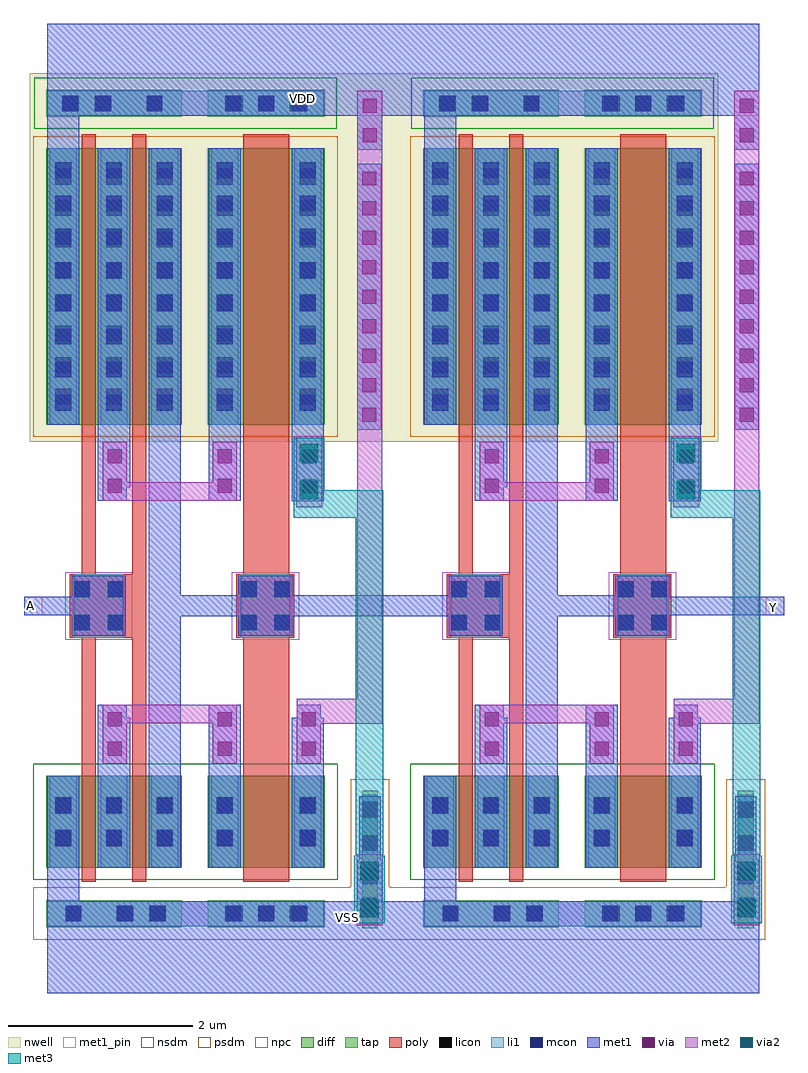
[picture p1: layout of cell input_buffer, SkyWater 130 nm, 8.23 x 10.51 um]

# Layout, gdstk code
import gdstk
lib = gdstk.Library(unit=1e-6, precision=1e-09)
def R(c, l, rs):  # rectangles x0, y0, x1, y1
    for r in rs: c.add(gdstk.rectangle(r[:2], r[2:], *l))
def A(c, l, x, y, w, h, nx, ny, dx, dy):  # array of equal rectangles
    R(c, l, [(x+i*dx, y+j*dy, x+i*dx+w, y+j*dy+h) for i in range(nx) for j in range(ny)])
nwell = (64, 20)
diff = (65, 20)
tap = (65, 44)
poly = (66, 20)
licon = (66, 44)
li1 = (67, 20)
mcon = (67, 44)
met1_pin = (68, 16)
met1 = (68, 20)
via = (68, 44)
met2 = (69, 20)
via2 = (69, 44)
met3 = (70, 20)
nsdm = (93, 44)
psdm = (94, 20)
npc = (95, 20)

m1m2_c_cdns_795703086708 = lib.new_cell('M1M2_C_CDNS_7957030867088')
R(m1m2_c_cdns_795703086708, met1, [(-0.13,-0.32,0.13,0.32)])
R(m1m2_c_cdns_795703086708, via, [(-0.075,-0.235,0.075,-0.085), (-0.075,0.085,0.075,0.235)])
R(m1m2_c_cdns_795703086708, met2, [(-0.13,-0.32,0.13,0.32)])

polyconn_cdns_7957030867 = lib.new_cell('polyConn_CDNS_795703086702')
R(polyconn_cdns_7957030867, poly, [(-0.315,-0.345,0.315,0.345)])
R(polyconn_cdns_7957030867, licon, [(-0.265,-0.265,-0.095,-0.095), (0.095,-0.265,0.265,-0.095), (-0.265,0.095,-0.095,0.265), (0.095,0.095,0.265,0.265)])
R(polyconn_cdns_7957030867, li1, [(-0.265,-0.345,0.265,0.345)])
R(polyconn_cdns_7957030867, mcon, [(-0.265,-0.265,-0.095,-0.095), (0.095,-0.265,0.265,-0.095), (-0.265,0.095,-0.095,0.265), (0.095,0.095,0.265,0.265)])
R(polyconn_cdns_7957030867, met1, [(-0.295,-0.325,0.295,0.325)])
R(polyconn_cdns_7957030867, npc, [(-0.365,-0.365,0.365,0.365)])

nfet_01v8_cdns_795703086 = lib.new_cell('nfet_01v8_CDNS_795703086709')
R(nfet_01v8_cdns_795703086, diff, [(-0.345,0,0,1), (0,0,0.15,1), (0.15,0,0.535,1)])
R(nfet_01v8_cdns_795703086, tap, [(-0.345,-0.64,0.535,-0.35)])
R(nfet_01v8_cdns_795703086, poly, [(0,-0.15,0.15,-0.095), (0,-0.095,0.15,0), (0,0,0.15,1), (0,1,0.15,1.095), (0,1.095,0.15,1.15)])
R(nfet_01v8_cdns_795703086, licon, [(-0.16,-0.58,0.01,-0.41), (0.18,-0.58,0.35,-0.41), (-0.285,0.245,-0.115,0.415), (0.265,0.245,0.435,0.415), (-0.285,0.585,-0.115,0.755), (0.265,0.585,0.435,0.755)])
R(nfet_01v8_cdns_795703086, li1, [(-0.335,-0.63,0.525,-0.36), (-0.345,0,-0.055,1), (0.205,0,0.495,1)])
R(nfet_01v8_cdns_795703086, mcon, [(-0.17,-0.58,0,-0.41), (0.19,-0.58,0.36,-0.41), (-0.285,0.235,-0.115,0.405), (0.265,0.235,0.435,0.405), (-0.285,0.595,-0.115,0.765), (0.265,0.595,0.435,0.765)])
R(nfet_01v8_cdns_795703086, met1, [(-0.335,-0.63,0.525,-0.36), (-0.375,0,-0.025,1), (0.175,0,0.525,1)])
R(nfet_01v8_cdns_795703086, nsdm, [(-0.355,-0.13,0.675,1.13)])
R(nfet_01v8_cdns_795703086, psdm, [(-0.485,-0.78,0.675,-0.21)])

subtap_cdns_795703086703 = lib.new_cell('subTap_CDNS_795703086703')
R(subtap_cdns_795703086703, tap, [(-0.085,-0.745,0.085,0.745)])
A(subtap_cdns_795703086703, licon, -0.085, -0.625, 0.17, 0.17, 1, 4, 0, 0.36)
R(subtap_cdns_795703086703, li1, [(-0.085,-0.705,0.085,0.705)])
A(subtap_cdns_795703086703, mcon, -0.085, -0.625, 0.17, 0.17, 1, 4, 0, 0.36)
R(subtap_cdns_795703086703, met1, [(-0.115,-0.685,0.115,0.685)])
R(subtap_cdns_795703086703, psdm, [(-0.21,-0.87,0.21,0.87)])

pfet_01v8_cdns_795703086 = lib.new_cell('pfet_01v8_CDNS_795703086707')
R(pfet_01v8_cdns_795703086, nwell, [(-0.565,-0.18,0.675,3.81)])
R(pfet_01v8_cdns_795703086, diff, [(-0.385,0,0,3), (0,0,0.15,3), (0.15,0,0.495,3)])
R(pfet_01v8_cdns_795703086, tap, [(-0.385,3.34,0.495,3.63)])
R(pfet_01v8_cdns_795703086, poly, [(0,-0.15,0.15,-0.095), (0,-0.095,0.15,0), (0,0,0.15,3), (0,3,0.15,3.095), (0,3.095,0.15,3.15)])
A(pfet_01v8_cdns_795703086, licon, -0.285, 0.225, 0.17, 0.17, 1, 8, 0, 0.34)
A(pfet_01v8_cdns_795703086, licon, 0.265, 0.225, 0.17, 0.17, 1, 8, 0, 0.34)
R(pfet_01v8_cdns_795703086, licon, [(-0.2,3.4,-0.03,3.57), (0.14,3.4,0.31,3.57)])
R(pfet_01v8_cdns_795703086, li1, [(-0.345,0,-0.055,3), (0.205,0,0.495,3), (-0.375,3.35,0.485,3.62)])
A(pfet_01v8_cdns_795703086, mcon, -0.285, 0.155, 0.17, 0.17, 1, 8, 0, 0.36)
A(pfet_01v8_cdns_795703086, mcon, 0.265, 0.155, 0.17, 0.17, 1, 8, 0, 0.36)
R(pfet_01v8_cdns_795703086, mcon, [(-0.21,3.4,-0.04,3.57), (0.15,3.4,0.32,3.57)])
R(pfet_01v8_cdns_795703086, met1, [(-0.375,0,-0.025,3), (0.175,0,0.525,3), (-0.375,3.35,0.485,3.62)])
R(pfet_01v8_cdns_795703086, nsdm, [(-0.515,3.21,0.625,3.76)])
R(pfet_01v8_cdns_795703086, psdm, [(-0.525,-0.13,0.505,3.13)])

m1m2_c_cdns_795703086709 = lib.new_cell('M1M2_C_CDNS_7957030867090')
R(m1m2_c_cdns_795703086709, met1, [(-0.13,-1.44,0.13,1.44)])
A(m1m2_c_cdns_795703086709, via, -0.075, -1.355, 0.15, 0.15, 1, 9, 0, 0.32)
R(m1m2_c_cdns_795703086709, met2, [(-0.13,-1.44,0.13,1.44)])

c_pfet_01v8_cdns_795703086 = lib.new_cell('pfet_01v8_CDNS_795703086706')
R(c_pfet_01v8_cdns_795703086, nwell, [(-0.235,-0.18,0.715,3.81)])
R(c_pfet_01v8_cdns_795703086, diff, [(-0.055,0,0,3), (0,0,0.15,3), (0.15,0,0.535,3)])
R(c_pfet_01v8_cdns_795703086, tap, [(-0.055,3.34,0.535,3.63)])
R(c_pfet_01v8_cdns_795703086, poly, [(0,-0.15,0.15,-0.095), (0,-0.095,0.15,0), (0,0,0.15,3), (0,3,0.15,3.095), (0,3.095,0.15,3.15)])
A(c_pfet_01v8_cdns_795703086, licon, 0.265, 0.225, 0.17, 0.17, 1, 8, 0, 0.34)
R(c_pfet_01v8_cdns_795703086, licon, [(0.155,3.4,0.325,3.57)])
R(c_pfet_01v8_cdns_795703086, li1, [(0.205,0,0.495,3), (-0.045,3.35,0.525,3.62)])
A(c_pfet_01v8_cdns_795703086, mcon, 0.265, 0.155, 0.17, 0.17, 1, 8, 0, 0.36)
R(c_pfet_01v8_cdns_795703086, mcon, [(0.155,3.4,0.325,3.57)])
R(c_pfet_01v8_cdns_795703086, met1, [(0.175,0,0.525,3), (-0.045,3.35,0.525,3.62)])
R(c_pfet_01v8_cdns_795703086, nsdm, [(-0.185,3.21,0.665,3.76)])
R(c_pfet_01v8_cdns_795703086, psdm, [(-0.065,-0.13,0.675,3.13)])

m2m3_c_cdns_795703086708 = lib.new_cell('M2M3_C_CDNS_7957030867089')
R(m2m3_c_cdns_795703086708, met2, [(-0.14,-0.385,0.14,0.385)])
R(m2m3_c_cdns_795703086708, via2, [(-0.1,-0.3,0.1,-0.1), (-0.1,0.1,0.1,0.3)])
R(m2m3_c_cdns_795703086708, met3, [(-0.165,-0.365,0.165,0.365)])

c_pfet_01v8_cdns_795703086_ = lib.new_cell('pfet_01v8_CDNS_795703086705')
R(c_pfet_01v8_cdns_795703086_, nwell, [(-0.565,-0.18,1.065,3.81)])
R(c_pfet_01v8_cdns_795703086_, diff, [(-0.385,0,0,3), (0,0,0.5,3), (0.5,0,0.885,3)])
R(c_pfet_01v8_cdns_795703086_, tap, [(-0.385,3.34,0.885,3.63)])
R(c_pfet_01v8_cdns_795703086_, poly, [(0,-0.15,0.5,-0.095), (0,-0.095,0.5,0), (0,0,0.5,3), (0,3,0.5,3.095), (0,3.095,0.5,3.15)])
A(c_pfet_01v8_cdns_795703086_, licon, -0.285, 0.225, 0.17, 0.17, 1, 8, 0, 0.34)
A(c_pfet_01v8_cdns_795703086_, licon, 0.615, 0.225, 0.17, 0.17, 1, 8, 0, 0.34)
A(c_pfet_01v8_cdns_795703086_, licon, -0.175, 3.4, 0.17, 0.17, 3, 1, 0.34, 0)
R(c_pfet_01v8_cdns_795703086_, li1, [(-0.345,0,-0.055,3), (0.555,0,0.845,3), (-0.375,3.35,0.875,3.62)])
A(c_pfet_01v8_cdns_795703086_, mcon, -0.285, 0.155, 0.17, 0.17, 1, 8, 0, 0.36)
A(c_pfet_01v8_cdns_795703086_, mcon, 0.615, 0.155, 0.17, 0.17, 1, 8, 0, 0.36)
A(c_pfet_01v8_cdns_795703086_, mcon, -0.195, 3.4, 0.17, 0.17, 3, 1, 0.36, 0)
R(c_pfet_01v8_cdns_795703086_, met1, [(-0.375,0,-0.025,3), (0.525,0,0.875,3), (-0.375,3.35,0.875,3.62)])
R(c_pfet_01v8_cdns_795703086_, nsdm, [(-0.515,3.21,1.015,3.76)])
R(c_pfet_01v8_cdns_795703086_, psdm, [(-0.525,-0.13,1.025,3.13)])

c_nfet_01v8_cdns_795703086 = lib.new_cell('nfet_01v8_CDNS_795703086708')
R(c_nfet_01v8_cdns_795703086, diff, [(-0.385,0,0,1), (0,0,0.15,1), (0.15,0,0.205,1)])
R(c_nfet_01v8_cdns_795703086, tap, [(-0.385,-0.64,0.205,-0.35)])
R(c_nfet_01v8_cdns_795703086, poly, [(0,-0.15,0.15,-0.095), (0,-0.095,0.15,0), (0,0,0.15,1), (0,1,0.15,1.095), (0,1.095,0.15,1.15)])
R(c_nfet_01v8_cdns_795703086, licon, [(-0.175,-0.58,-0.005,-0.41), (-0.285,0.245,-0.115,0.415), (-0.285,0.585,-0.115,0.755)])
R(c_nfet_01v8_cdns_795703086, li1, [(-0.375,-0.63,0.195,-0.36), (-0.345,0,-0.055,1)])
R(c_nfet_01v8_cdns_795703086, mcon, [(-0.175,-0.58,-0.005,-0.41), (-0.285,0.235,-0.115,0.405), (-0.285,0.595,-0.115,0.765)])
R(c_nfet_01v8_cdns_795703086, met1, [(-0.375,-0.63,0.195,-0.36), (-0.375,0,-0.025,1)])
R(c_nfet_01v8_cdns_795703086, nsdm, [(-0.525,-0.13,0.215,1.13)])
R(c_nfet_01v8_cdns_795703086, psdm, [(-0.525,-0.78,0.345,-0.21)])

c_nfet_01v8_cdns_795703086_ = lib.new_cell('nfet_01v8_CDNS_795703086704')
R(c_nfet_01v8_cdns_795703086_, diff, [(-0.385,0,0,1), (0,0,0.5,1), (0.5,0,0.885,1)])
R(c_nfet_01v8_cdns_795703086_, tap, [(-0.385,-0.64,0.885,-0.35)])
R(c_nfet_01v8_cdns_795703086_, poly, [(0,-0.15,0.5,-0.095), (0,-0.095,0.5,0), (0,0,0.5,1), (0,1,0.5,1.095), (0,1.095,0.5,1.15)])
A(c_nfet_01v8_cdns_795703086_, licon, -0.175, -0.58, 0.17, 0.17, 3, 1, 0.34, 0)
R(c_nfet_01v8_cdns_795703086_, licon, [(-0.285,0.245,-0.115,0.415), (0.615,0.245,0.785,0.415), (-0.285,0.585,-0.115,0.755), (0.615,0.585,0.785,0.755)])
R(c_nfet_01v8_cdns_795703086_, li1, [(-0.375,-0.63,0.875,-0.36), (-0.345,0,-0.055,1), (0.555,0,0.845,1)])
A(c_nfet_01v8_cdns_795703086_, mcon, -0.195, -0.58, 0.17, 0.17, 3, 1, 0.36, 0)
R(c_nfet_01v8_cdns_795703086_, mcon, [(-0.285,0.235,-0.115,0.405), (0.615,0.235,0.785,0.405), (-0.285,0.595,-0.115,0.765), (0.615,0.595,0.785,0.765)])
R(c_nfet_01v8_cdns_795703086_, met1, [(-0.375,-0.63,0.875,-0.36), (-0.375,0,-0.025,1), (0.525,0,0.875,1)])
R(c_nfet_01v8_cdns_795703086_, nsdm, [(-0.525,-0.13,1.025,1.13)])
R(c_nfet_01v8_cdns_795703086_, psdm, [(-0.525,-0.78,1.025,-0.21)])

input_buffer = lib.new_cell('input_buffer')
R(input_buffer, nwell, [(3.44,-5.085,4.145,-1.095)])
R(input_buffer, poly, [(1.125,-7.21,1.175,-6.52), (5.21,-7.21,5.26,-6.52)])
R(input_buffer, li1, [(0.25,-10.335,3.25,-10.065), (4.335,-10.335,7.335,-10.065), (0.25,-1.555,3.25,-1.285), (4.335,-1.555,7.335,-1.285)])
R(input_buffer, met1_pin, [(0.25,-11.065,7.965,-10.065), (0,-6.965,0.2,-6.765), (8.035,-6.965,8.235,-6.765), (0.25,-1.555,7.965,-0.555)])
R(input_buffer, met1, [(0.25,-11.065,7.965,-10.335), (0.25,-10.335,3.25,-10.065), (4.335,-10.335,7.335,-10.065), (0.8,-8.08,0.855,-7.935), (4.885,-8.08,4.94,-7.935), (2.9,-5.73,3.25,-5.585), (6.985,-5.73,7.335,-5.585), (0.8,-5.725,0.855,-5.58), (4.885,-5.725,4.94,-5.58), (0.25,-1.555,3.25,-1.285), (4.335,-1.555,7.335,-1.285), (0.25,-1.285,7.965,-0.555)])
R(input_buffer, met3, [(2.925,-5.91,2.94,-5.775), (7.01,-5.91,7.025,-5.775)])
R(input_buffer, nsdm, [(1.84,-1.695,1.86,-1.145), (5.925,-1.695,5.945,-1.145)])
R(input_buffer, psdm, [(3.4,-10.485,3.54,-9.915), (3.96,-10.485,4.185,-9.915), (7.485,-10.485,7.61,-9.915)])
input_buffer.add(gdstk.FlexPath([(3.745,-9.94),(3.745,-5.76)], 0.3, ends=(0, 0.15), simple_path=True, layer=70, datatype=20))  # met3
input_buffer.add(gdstk.FlexPath([(3.745,-5.76),(3.09,-5.76)], 0.3, ends="extended", simple_path=True, layer=70, datatype=20))  # met3
input_buffer.add(gdstk.FlexPath([(3.09,-5.76),(3.09,-5.41)], 0.3, ends=(0.15, 0), simple_path=True, layer=70, datatype=20))  # met3
input_buffer.add(gdstk.FlexPath([(7.175,-5.76),(7.83,-5.76)], 0.3, ends="extended", simple_path=True, layer=70, datatype=20))  # met3
input_buffer.add(gdstk.FlexPath([(7.83,-5.76),(7.83,-9.94)], 0.3, ends=(0.15, 0), simple_path=True, layer=70, datatype=20))  # met3
input_buffer.add(gdstk.FlexPath([(7.175,-5.41),(7.175,-5.76)], 0.3, ends=(0, 0.15), simple_path=True, layer=70, datatype=20))  # met3
input_buffer.add(gdstk.FlexPath([(2.16,-8.035),(0.985,-8.035)], 0.2, ends=(0, 0.13), simple_path=True, layer=69, datatype=20))  # met2
input_buffer.add(gdstk.FlexPath([(6.245,-8.035),(5.07,-8.035)], 0.2, ends=(0, 0.13), simple_path=True, layer=69, datatype=20))  # met2
input_buffer.add(gdstk.FlexPath([(2.16,-5.625),(0.985,-5.625)], 0.2, ends=(0, 0.13), simple_path=True, layer=69, datatype=20))  # met2
input_buffer.add(gdstk.FlexPath([(6.245,-5.625),(5.07,-5.625)], 0.2, ends=(0, 0.13), simple_path=True, layer=69, datatype=20))  # met2
input_buffer.add(gdstk.FlexPath([(3.085,-8.005),(3.085,-8.255)], 0.26, ends=(0.135, 0), simple_path=True, layer=69, datatype=20))  # met2
input_buffer.add(gdstk.FlexPath([(7.17,-8.005),(7.17,-8.255)], 0.26, ends=(0.135, 0), simple_path=True, layer=69, datatype=20))  # met2
input_buffer.add(gdstk.FlexPath([(3.745,-8.005),(3.085,-8.005)], 0.27, ends=(0.135, 0.13), simple_path=True, layer=69, datatype=20))  # met2
input_buffer.add(gdstk.FlexPath([(7.83,-8.005),(7.17,-8.005)], 0.27, ends=(0.135, 0.13), simple_path=True, layer=69, datatype=20))  # met2
input_buffer.add(gdstk.FlexPath([(3.745,-1.605),(3.745,-8.005)], 0.27, ends=(0.32, 0.135), simple_path=True, layer=69, datatype=20))  # met2
input_buffer.add(gdstk.FlexPath([(7.83,-1.605),(7.83,-8.005)], 0.27, ends=(0.32, 0.135), simple_path=True, layer=69, datatype=20))  # met2
input_buffer.add(gdstk.FlexPath([(0.425,-9.705),(0.425,-10.065)], 0.35, ends="flush", simple_path=True, layer=68, datatype=20))  # met1
input_buffer.add(gdstk.FlexPath([(4.51,-9.705),(4.51,-10.065)], 0.35, ends="flush", simple_path=True, layer=68, datatype=20))  # met1
input_buffer.add(gdstk.FlexPath([(3.075,-8.255),(3.075,-8.705)], 0.35, ends=(0.175, 0), simple_path=True, layer=68, datatype=20))  # met1
input_buffer.add(gdstk.FlexPath([(7.16,-8.255),(7.16,-8.705)], 0.35, ends=(0.175, 0), simple_path=True, layer=68, datatype=20))  # met1
input_buffer.add(gdstk.FlexPath([(2.175,-8.705),(2.175,-8.255)], 0.35, ends=(0, 0.32), simple_path=True, layer=68, datatype=20))  # met1
input_buffer.add(gdstk.FlexPath([(6.26,-8.705),(6.26,-8.255)], 0.35, ends=(0, 0.32), simple_path=True, layer=68, datatype=20))  # met1
input_buffer.add(gdstk.FlexPath([(0.975,-8.705),(0.975,-8.255)], 0.35, ends=(0, 0.175), simple_path=True, layer=68, datatype=20))  # met1
input_buffer.add(gdstk.FlexPath([(5.06,-8.705),(5.06,-8.255)], 0.35, ends=(0, 0.175), simple_path=True, layer=68, datatype=20))  # met1
input_buffer.add(gdstk.FlexPath([(0.975,-8.255),(0.985,-8.255)], 0.35, ends=(0.175, 0), simple_path=True, layer=68, datatype=20))  # met1
input_buffer.add(gdstk.FlexPath([(5.06,-8.255),(5.07,-8.255)], 0.35, ends=(0.175, 0), simple_path=True, layer=68, datatype=20))  # met1
input_buffer.add(gdstk.FlexPath([(0.975,-5.405),(0.985,-5.405)], 0.35, ends=(0.175, 0), simple_path=True, layer=68, datatype=20))  # met1
input_buffer.add(gdstk.FlexPath([(5.06,-5.405),(5.07,-5.405)], 0.35, ends=(0.175, 0), simple_path=True, layer=68, datatype=20))  # met1
input_buffer.add(gdstk.FlexPath([(3.085,-8.255),(3.075,-8.255)], 0.35, ends=(0, 0.175), simple_path=True, layer=68, datatype=20))  # met1
input_buffer.add(gdstk.FlexPath([(7.17,-8.255),(7.16,-8.255)], 0.35, ends=(0, 0.175), simple_path=True, layer=68, datatype=20))  # met1
input_buffer.add(gdstk.FlexPath([(0.975,-4.61),(0.975,-5.405)], 0.35, ends=(0, 0.175), simple_path=True, layer=68, datatype=20))  # met1
input_buffer.add(gdstk.FlexPath([(5.06,-4.61),(5.06,-5.405)], 0.35, ends=(0, 0.175), simple_path=True, layer=68, datatype=20))  # met1
input_buffer.add(gdstk.FlexPath([(4.335,-10.2),(3.745,-10.2)], 0.27, ends=(0, 0.135), simple_path=True, layer=68, datatype=20))  # met1
input_buffer.add(gdstk.FlexPath([(4.335,-1.42),(3.745,-1.42)], 0.27, ends=(0, 0.135), simple_path=True, layer=68, datatype=20))  # met1
input_buffer.add(gdstk.FlexPath([(0.81,-6.865),(0,-6.865)], 0.2, ends="flush", simple_path=True, layer=68, datatype=20))  # met1
input_buffer.add(gdstk.FlexPath([(6.7,-6.865),(8.235,-6.865)], 0.2, ends="flush", simple_path=True, layer=68, datatype=20))  # met1
input_buffer.add(gdstk.FlexPath([(3.09,-5.41),(3.075,-5.41)], 0.35, ends=(0, 0.175), simple_path=True, layer=68, datatype=20))  # met1
input_buffer.add(gdstk.FlexPath([(7.175,-5.41),(7.16,-5.41)], 0.35, ends=(0, 0.175), simple_path=True, layer=68, datatype=20))  # met1
input_buffer.add(gdstk.FlexPath([(0.425,-1.905),(0.425,-1.555)], 0.35, ends="flush", simple_path=True, layer=68, datatype=20))  # met1
input_buffer.add(gdstk.FlexPath([(4.51,-1.905),(4.51,-1.555)], 0.35, ends="flush", simple_path=True, layer=68, datatype=20))  # met1
input_buffer.add(gdstk.FlexPath([(1.525,-4.905),(1.525,-6.865)], 0.35, ends=(0, 0.115), simple_path=True, layer=68, datatype=20))  # met1
input_buffer.add(gdstk.FlexPath([(5.61,-4.905),(5.61,-6.865)], 0.35, ends=(0, 0.115), simple_path=True, layer=68, datatype=20))  # met1
input_buffer.add(gdstk.FlexPath([(1.525,-6.865),(1.525,-8.88)], 0.35, ends=(0.115, 0.175), simple_path=True, layer=68, datatype=20))  # met1
input_buffer.add(gdstk.FlexPath([(5.61,-6.865),(5.61,-8.88)], 0.35, ends=(0.115, 0.175), simple_path=True, layer=68, datatype=20))  # met1
input_buffer.add(gdstk.FlexPath([(1.525,-8.88),(1.7,-8.88)], 0.35, ends=(0.175, 0), simple_path=True, layer=68, datatype=20))  # met1
input_buffer.add(gdstk.FlexPath([(5.61,-8.88),(5.785,-8.88)], 0.35, ends=(0.175, 0), simple_path=True, layer=68, datatype=20))  # met1
input_buffer.add(gdstk.FlexPath([(3.745,-10.2),(3.745,-9.94)], 0.27, ends=(0.135, 0.32), simple_path=True, layer=68, datatype=20))  # met1
input_buffer.add(gdstk.FlexPath([(7.83,-10.2),(7.83,-9.94)], 0.27, ends=(0.135, 0.32), simple_path=True, layer=68, datatype=20))  # met1
input_buffer.add(gdstk.FlexPath([(2.615,-6.865),(1.525,-6.865)], 0.23, ends=(0, 0.175), simple_path=True, layer=68, datatype=20))  # met1
input_buffer.add(gdstk.FlexPath([(6.7,-6.865),(5.61,-6.865)], 0.23, ends=(0, 0.175), simple_path=True, layer=68, datatype=20))  # met1
input_buffer.add(gdstk.FlexPath([(2.615,-6.865),(4.895,-6.865)], 0.23, ends="flush", simple_path=True, layer=68, datatype=20))  # met1
input_buffer.add(gdstk.FlexPath([(3.075,-5.41),(3.075,-4.905)], 0.35, ends=(0.175, 0), simple_path=True, layer=68, datatype=20))  # met1
input_buffer.add(gdstk.FlexPath([(7.16,-5.41),(7.16,-4.905)], 0.35, ends=(0.175, 0), simple_path=True, layer=68, datatype=20))  # met1
input_buffer.add(gdstk.FlexPath([(3.25,-10.2),(3.745,-10.2)], 0.27, ends=(0, 0.135), simple_path=True, layer=68, datatype=20))  # met1
input_buffer.add(gdstk.FlexPath([(7.335,-10.2),(7.83,-10.2)], 0.27, ends=(0, 0.135), simple_path=True, layer=68, datatype=20))  # met1
input_buffer.add(gdstk.FlexPath([(3.25,-1.42),(3.745,-1.42)], 0.27, ends=(0, 0.135), simple_path=True, layer=68, datatype=20))  # met1
input_buffer.add(gdstk.FlexPath([(7.335,-1.42),(7.83,-1.42)], 0.27, ends=(0, 0.135), simple_path=True, layer=68, datatype=20))  # met1
input_buffer.add(gdstk.FlexPath([(3.745,-1.42),(3.745,-1.605)], 0.27, ends=(0.135, 0.32), simple_path=True, layer=68, datatype=20))  # met1
input_buffer.add(gdstk.FlexPath([(7.83,-1.42),(7.83,-1.605)], 0.27, ends=(0.135, 0.32), simple_path=True, layer=68, datatype=20))  # met1
input_buffer.add(gdstk.FlexPath([(2.175,-4.79),(2.175,-5.405)], 0.35, ends=(0, 0.32), simple_path=True, layer=68, datatype=20))  # met1
input_buffer.add(gdstk.FlexPath([(6.26,-4.79),(6.26,-5.405)], 0.35, ends=(0, 0.32), simple_path=True, layer=68, datatype=20))  # met1
input_buffer.add(gdstk.FlexPath([(2.625,-5.055),(2.625,-8.555)], 0.5, ends="flush", simple_path=True, layer=66, datatype=20))  # poly
input_buffer.add(gdstk.FlexPath([(6.71,-5.055),(6.71,-8.555)], 0.5, ends="flush", simple_path=True, layer=66, datatype=20))  # poly
input_buffer.add(gdstk.FlexPath([(0.7,-5.055),(0.7,-8.555)], 0.15, ends="flush", simple_path=True, layer=66, datatype=20))  # poly
input_buffer.add(gdstk.FlexPath([(4.785,-5.055),(4.785,-8.555)], 0.15, ends="flush", simple_path=True, layer=66, datatype=20))  # poly
input_buffer.add(gdstk.FlexPath([(1.25,-8.555),(1.25,-5.055)], 0.15, ends="flush", simple_path=True, layer=66, datatype=20))  # poly
input_buffer.add(gdstk.FlexPath([(5.335,-8.555),(5.335,-5.055)], 0.15, ends="flush", simple_path=True, layer=66, datatype=20))  # poly
input_buffer.add(gdstk.Reference(m1m2_c_cdns_795703086708, (3.745,-9.94)))
input_buffer.add(gdstk.Reference(m1m2_c_cdns_795703086708, (7.83,-9.94)))
input_buffer.add(gdstk.Reference(m1m2_c_cdns_795703086708, (0.985,-8.255)))
input_buffer.add(gdstk.Reference(m1m2_c_cdns_795703086708, (2.175,-8.255)))
input_buffer.add(gdstk.Reference(m1m2_c_cdns_795703086708, (3.085,-8.255)))
input_buffer.add(gdstk.Reference(m1m2_c_cdns_795703086708, (5.07,-8.255)))
input_buffer.add(gdstk.Reference(m1m2_c_cdns_795703086708, (6.26,-8.255)))
input_buffer.add(gdstk.Reference(m1m2_c_cdns_795703086708, (7.17,-8.255)))
input_buffer.add(gdstk.Reference(m1m2_c_cdns_795703086708, (3.09,-5.41)))
input_buffer.add(gdstk.Reference(m1m2_c_cdns_795703086708, (7.175,-5.41)))
input_buffer.add(gdstk.Reference(m1m2_c_cdns_795703086708, (3.745,-1.605)))
input_buffer.add(gdstk.Reference(m1m2_c_cdns_795703086708, (7.83,-1.605)))
input_buffer.add(gdstk.Reference(polyconn_cdns_7957030867, (0.81,-6.865)))
input_buffer.add(gdstk.Reference(polyconn_cdns_7957030867, (2.615,-6.865)))
input_buffer.add(gdstk.Reference(polyconn_cdns_7957030867, (4.895,-6.865)))
input_buffer.add(gdstk.Reference(polyconn_cdns_7957030867, (6.7,-6.865)))
input_buffer.add(gdstk.Reference(nfet_01v8_cdns_795703086, (1.175,-9.705)))
input_buffer.add(gdstk.Reference(nfet_01v8_cdns_795703086, (5.26,-9.705)))
input_buffer.add(gdstk.Reference(subtap_cdns_795703086703, (3.75,-9.615)))
input_buffer.add(gdstk.Reference(subtap_cdns_795703086703, (7.82,-9.615)))
input_buffer.add(gdstk.Reference(pfet_01v8_cdns_795703086, (0.625,-4.905)))
input_buffer.add(gdstk.Reference(pfet_01v8_cdns_795703086, (4.71,-4.905)))
input_buffer.add(gdstk.Reference(m1m2_c_cdns_795703086709, (3.74,-3.515)))
input_buffer.add(gdstk.Reference(m1m2_c_cdns_795703086709, (7.83,-3.515)))
input_buffer.add(gdstk.Reference(c_pfet_01v8_cdns_795703086, (1.175,-4.905)))
input_buffer.add(gdstk.Reference(c_pfet_01v8_cdns_795703086, (5.26,-4.905)))
input_buffer.add(gdstk.Reference(m2m3_c_cdns_795703086708, (3.745,-9.94)))
input_buffer.add(gdstk.Reference(m2m3_c_cdns_795703086708, (7.83,-9.94)))
input_buffer.add(gdstk.Reference(m2m3_c_cdns_795703086708, (3.09,-5.41)))
input_buffer.add(gdstk.Reference(m2m3_c_cdns_795703086708, (7.175,-5.41)))
input_buffer.add(gdstk.Reference(c_pfet_01v8_cdns_795703086_, (2.375,-4.905)))
input_buffer.add(gdstk.Reference(c_pfet_01v8_cdns_795703086_, (6.46,-4.905)))
input_buffer.add(gdstk.Reference(m1m2_c_cdns_795703086708, (0.985,-5.405), x_reflection=True))
input_buffer.add(gdstk.Reference(m1m2_c_cdns_795703086708, (2.175,-5.405), x_reflection=True))
input_buffer.add(gdstk.Reference(m1m2_c_cdns_795703086708, (5.07,-5.405), x_reflection=True))
input_buffer.add(gdstk.Reference(m1m2_c_cdns_795703086708, (6.26,-5.405), x_reflection=True))
input_buffer.add(gdstk.Reference(c_nfet_01v8_cdns_795703086, (0.625,-9.705)))
input_buffer.add(gdstk.Reference(c_nfet_01v8_cdns_795703086, (4.71,-9.705)))
input_buffer.add(gdstk.Reference(c_nfet_01v8_cdns_795703086_, (2.375,-9.705)))
input_buffer.add(gdstk.Reference(c_nfet_01v8_cdns_795703086_, (6.46,-9.705)))
input_buffer.add(gdstk.Label('A', (0.075,-6.865), layer=68, texttype=16))
input_buffer.add(gdstk.Label('Y', (8.125,-6.88), layer=68, texttype=16))
input_buffer.add(gdstk.Label('VDD', (3.02,-1.37), layer=68, texttype=16))
input_buffer.add(gdstk.Label('VSS', (3.5,-10.245), layer=68, texttype=16))

lib.write_gds('input_buffer.gds')
